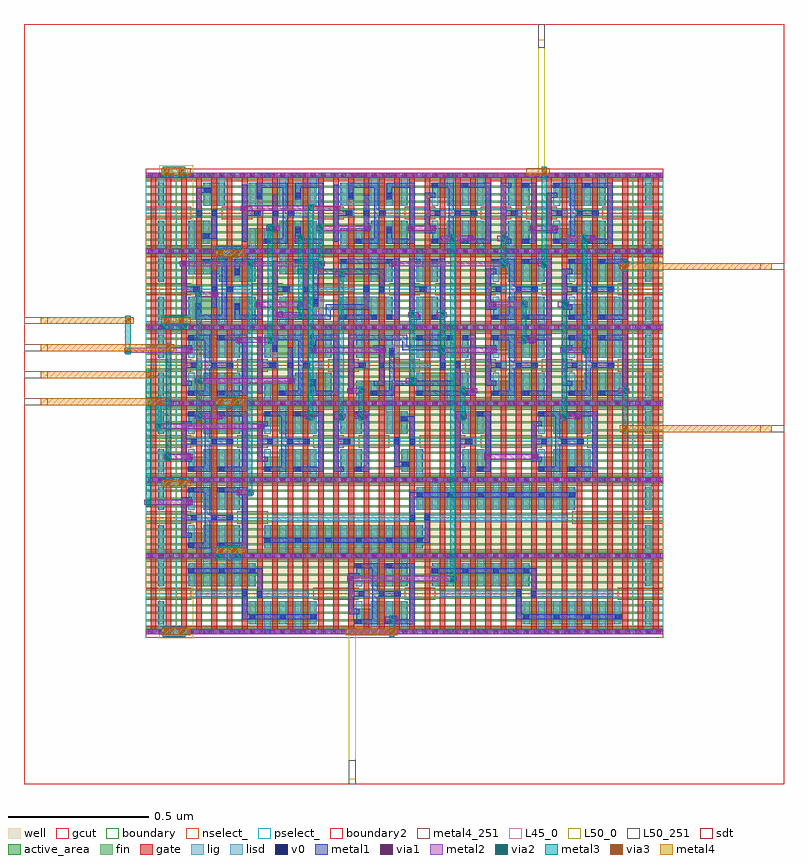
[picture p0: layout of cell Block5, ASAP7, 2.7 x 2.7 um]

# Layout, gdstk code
from math import pi, radians
import gdstk
lib = gdstk.Library(unit=1e-6, precision=2.5e-10)
def R(c, l, rs):  # rectangles x0, y0, x1, y1
    for r in rs: c.add(gdstk.rectangle(r[:2], r[2:], *l))
def A(c, l, x, y, w, h, nx, ny, dx, dy):  # array of equal rectangles
    R(c, l, [(x+i*dx, y+j*dy, x+i*dx+w, y+j*dy+h) for i in range(nx) for j in range(ny)])
def P(c, l, *ps):  # polygons
    for p in ps: c.add(gdstk.Polygon(p, *l))
well = (1, 0)
fin = (2, 0)
gate = (7, 0)
gcut = (10, 0)
active_area = (11, 0)
nselect_ = (12, 0)
pselect_ = (13, 0)
lig = (16, 0)
lisd = (17, 0)
v0 = (18, 0)
metal1 = (19, 0)
metal2 = (20, 0)
via1 = (21, 0)
via2 = (25, 0)
metal3 = (30, 0)
via3 = (35, 0)
metal4 = (40, 0)
metal4_251 = (40, 251)
L45_0 = (45, 0)
L50_0 = (50, 0)
L50_251 = (50, 251)
sdt = (88, 0)
boundary = (100, 0)
boundary2 = (235, 0)

via_via45_1_2_58_58 = lib.new_cell('VIA_VIA45_1_2_58_58')
R(via_via45_1_2_58_58, metal4, [(-0.052,-0.012,0.052,0.012)])
R(via_via45_1_2_58_58, L45_0, [(-0.041,-0.012,-0.017,0.012), (0.017,-0.012,0.041,0.012)])
R(via_via45_1_2_58_58, L50_0, [(-0.06,-0.023,0.06,0.023)])

via_via34_1_2_58_52 = lib.new_cell('VIA_VIA34_1_2_58_52')
R(via_via34_1_2_58_52, metal3, [(-0.04,-0.017,0.04,0.017)])
R(via_via34_1_2_58_52, via3, [(-0.035,-0.012,-0.017,0.012), (0.017,-0.012,0.035,0.012)])
R(via_via34_1_2_58_52, metal4, [(-0.046,-0.012,0.046,0.012)])

via_via23_1_3_36_36 = lib.new_cell('VIA_VIA23_1_3_36_36')
R(via_via23_1_3_36_36, metal2, [(-0.05,-0.009,0.05,0.009)])
R(via_via23_1_3_36_36, via2, [(-0.045,-0.009,-0.027,0.009), (-0.045,-0.009,-0.027,0.009), (0.027,-0.009,0.045,0.009)])
R(via_via23_1_3_36_36, metal3, [(-0.045,-0.009,0.045,0.009)])

via_via1_2_1836_18_1_51_ = lib.new_cell('VIA_via1_2_1836_18_1_51_36_36')
R(via_via1_2_1836_18_1_51_, metal1, [(-0.909,-0.009,0.909,0.009)])
R(via_via1_2_1836_18_1_51_, metal2, [(-0.911,-0.009,0.911,0.009)])
A(via_via1_2_1836_18_1_51_, via1, -0.909, -0.009, 0.018, 0.018, 51, 1, 0.036, 0)

via_via12 = lib.new_cell('VIA_VIA12')
R(via_via12, metal1, [(-0.009,-0.011,0.009,0.011)])
R(via_via12, metal2, [(-0.014,-0.009,0.014,0.009)])
R(via_via12, via1, [(-0.009,-0.009,0.009,0.009)])

via_via23 = lib.new_cell('VIA_VIA23')
R(via_via23, metal2, [(-0.014,-0.009,0.014,0.009)])
R(via_via23, via2, [(-0.009,-0.009,0.009,0.009)])
R(via_via23, metal3, [(-0.009,-0.014,0.009,0.014)])

via_via34 = lib.new_cell('VIA_VIA34')
R(via_via34, metal3, [(-0.009,-0.017,0.009,0.017)])
R(via_via34, via3, [(-0.009,-0.012,0.009,0.012)])
R(via_via34, metal4, [(-0.02,-0.012,0.02,0.012)])

fillerxp5_asap7_75t_r = lib.new_cell('FILLERxp5_ASAP7_75t_R')
R(fillerxp5_asap7_75t_r, well, [(0,0.135,0.054,0.27)])
A(fillerxp5_asap7_75t_r, fin, 0, 0.01, 0.054, 0.007, 1, 10, 0, 0.027)
R(fillerxp5_asap7_75t_r, gate, [(0.017,-0.005,0.037,0.275)])
A(fillerxp5_asap7_75t_r, gcut, 0, -0.022, 0.054, 0.044, 1, 3, 0, 0.135)
R(fillerxp5_asap7_75t_r, nselect_, [(0,0,0.054,0.135)])
R(fillerxp5_asap7_75t_r, pselect_, [(0,0.135,0.054,0.27)])
R(fillerxp5_asap7_75t_r, lig, [(0,-0.008,0.054,0.008), (0,0.262,0.054,0.278)])
R(fillerxp5_asap7_75t_r, metal1, [(0,-0.009,0.054,0.009), (0,0.261,0.054,0.279)])
R(fillerxp5_asap7_75t_r, boundary, [(0,0,0.054,0.27)])

filler_asap7_75t_r = lib.new_cell('FILLER_ASAP7_75t_R')
R(filler_asap7_75t_r, well, [(0,0.135,0.108,0.27)])
A(filler_asap7_75t_r, fin, 0, 0.01, 0.108, 0.007, 1, 10, 0, 0.027)
R(filler_asap7_75t_r, gate, [(0.017,-0.005,0.037,0.275), (0.071,-0.005,0.091,0.275)])
A(filler_asap7_75t_r, gcut, 0, -0.022, 0.108, 0.044, 1, 3, 0, 0.135)
R(filler_asap7_75t_r, nselect_, [(0,0,0.108,0.135)])
R(filler_asap7_75t_r, pselect_, [(0,0.135,0.108,0.27)])
R(filler_asap7_75t_r, lig, [(0,-0.008,0.108,0.008), (0,0.262,0.108,0.278)])
R(filler_asap7_75t_r, v0, [(0.045,-0.009,0.063,0.009), (0.045,0.261,0.063,0.279)])
R(filler_asap7_75t_r, metal1, [(0,-0.009,0.108,0.009), (0,0.261,0.108,0.279)])
R(filler_asap7_75t_r, boundary, [(0,0,0.108,0.27)])

decapx10_asap7_75t_r = lib.new_cell('DECAPx10_ASAP7_75t_R')
R(decapx10_asap7_75t_r, well, [(0,0.135,1.188,0.27)])
A(decapx10_asap7_75t_r, fin, 0, 0.01, 1.188, 0.007, 1, 10, 0, 0.027)
A(decapx10_asap7_75t_r, gate, 0.017, -0.005, 0.02, 0.28, 22, 1, 0.054, 0)
R(decapx10_asap7_75t_r, gcut, [(0,-0.022,1.188,0.022), (0,0.113,0.054,0.157), (1.134,0.113,1.188,0.157), (0,0.248,1.188,0.292)])
R(decapx10_asap7_75t_r, active_area, [(0.586,0.027,1.142,0.108), (0.046,0.162,0.602,0.243)])
R(decapx10_asap7_75t_r, nselect_, [(0,0,1.188,0.135)])
R(decapx10_asap7_75t_r, pselect_, [(0,0.135,1.188,0.27)])
R(decapx10_asap7_75t_r, lig, [(0,-0.008,1.188,0.008), (0.07,0.124,0.578,0.146), (0.61,0.124,1.118,0.146), (0,0.262,1.188,0.278)])
A(decapx10_asap7_75t_r, lisd, 0.636, 0, 0.024, 0.108, 5, 1, 0.108, 0)
A(decapx10_asap7_75t_r, lisd, 0.582, 0.027, 0.024, 0.081, 6, 1, 0.108, 0)
A(decapx10_asap7_75t_r, lisd, 0.042, 0.162, 0.024, 0.081, 6, 1, 0.108, 0)
A(decapx10_asap7_75t_r, lisd, 0.096, 0.162, 0.024, 0.108, 5, 1, 0.108, 0)
A(decapx10_asap7_75t_r, v0, 0.045, -0.009, 0.018, 0.018, 21, 2, 0.054, 0.27)
A(decapx10_asap7_75t_r, v0, 0.585, 0.045, 0.018, 0.018, 6, 1, 0.108, 0)
A(decapx10_asap7_75t_r, v0, 0.045, 0.207, 0.018, 0.018, 6, 1, 0.108, 0)
R(decapx10_asap7_75t_r, v0, [(0.558,0.126,0.576,0.144), (0.612,0.126,0.63,0.144)])
R(decapx10_asap7_75t_r, metal1, [(0,-0.009,1.188,0.009), (0,0.261,1.188,0.279)])
P(decapx10_asap7_75t_r, metal1, [(0.558,0.045),(0.558,0.15),(0.576,0.15),(0.576,0.063),(1.148,0.063),(1.148,0.045)],
  [(0.612,0.121),(0.612,0.207),(0.04,0.207),(0.04,0.225),(0.63,0.225),(0.63,0.121)])
A(decapx10_asap7_75t_r, sdt, 0.582, 0.027, 0.024, 0.081, 11, 1, 0.054, 0)
A(decapx10_asap7_75t_r, sdt, 0.042, 0.162, 0.024, 0.081, 11, 1, 0.054, 0)
R(decapx10_asap7_75t_r, boundary, [(0,0,1.188,0.27)])

decapx1_asap7_75t_r = lib.new_cell('DECAPx1_ASAP7_75t_R')
R(decapx1_asap7_75t_r, well, [(0,0.135,0.216,0.27)])
A(decapx1_asap7_75t_r, fin, 0, 0.01, 0.216, 0.007, 1, 10, 0, 0.027)
A(decapx1_asap7_75t_r, gate, 0.017, -0.005, 0.02, 0.28, 4, 1, 0.054, 0)
R(decapx1_asap7_75t_r, gcut, [(0,-0.022,0.216,0.022), (0,0.113,0.054,0.157), (0.162,0.113,0.216,0.157), (0,0.248,0.216,0.292)])
R(decapx1_asap7_75t_r, active_area, [(0.1,0.027,0.17,0.108), (0.046,0.162,0.116,0.243)])
R(decapx1_asap7_75t_r, nselect_, [(0,0,0.216,0.135)])
R(decapx1_asap7_75t_r, pselect_, [(0,0.135,0.216,0.27)])
R(decapx1_asap7_75t_r, lig, [(0,-0.008,0.216,0.008), (0.07,0.124,0.092,0.146), (0.124,0.124,0.146,0.146), (0,0.262,0.216,0.278)])
R(decapx1_asap7_75t_r, lisd, [(0.15,0,0.174,0.108), (0.096,0.027,0.12,0.108), (0.042,0.162,0.066,0.27), (0.096,0.162,0.12,0.243)])
A(decapx1_asap7_75t_r, v0, 0.045, -0.009, 0.018, 0.018, 3, 2, 0.054, 0.27)
R(decapx1_asap7_75t_r, v0, [(0.099,0.045,0.117,0.063), (0.072,0.126,0.09,0.144), (0.126,0.126,0.144,0.144), (0.099,0.207,0.117,0.225)])
R(decapx1_asap7_75t_r, metal1, [(0,-0.009,0.216,0.009), (0,0.261,0.216,0.279)])
P(decapx1_asap7_75t_r, metal1, [(0.126,0.121),(0.126,0.207),(0.094,0.207),(0.094,0.225),(0.144,0.225),(0.144,0.121)],
  [(0.072,0.045),(0.072,0.15),(0.09,0.15),(0.09,0.063),(0.122,0.063),(0.122,0.045)])
R(decapx1_asap7_75t_r, sdt, [(0.096,0.027,0.12,0.108), (0.15,0.027,0.174,0.108), (0.042,0.162,0.066,0.243), (0.096,0.162,0.12,0.243)])
R(decapx1_asap7_75t_r, boundary, [(0,0,0.216,0.27)])

tapcell_asap7_75t_r = lib.new_cell('TAPCELL_ASAP7_75t_R')
R(tapcell_asap7_75t_r, well, [(0,0.135,0.108,0.27)])
A(tapcell_asap7_75t_r, fin, 0, 0.01, 0.108, 0.007, 1, 10, 0, 0.027)
R(tapcell_asap7_75t_r, gate, [(0.017,-0.005,0.037,0.275), (0.071,-0.005,0.091,0.275)])
A(tapcell_asap7_75t_r, gcut, 0, -0.022, 0.108, 0.044, 1, 3, 0, 0.135)
R(tapcell_asap7_75t_r, active_area, [(0.046,0.027,0.062,0.108), (0.046,0.162,0.062,0.243)])
R(tapcell_asap7_75t_r, nselect_, [(0,0.135,0.108,0.27)])
R(tapcell_asap7_75t_r, pselect_, [(0,0,0.108,0.135)])
R(tapcell_asap7_75t_r, lig, [(0,-0.008,0.108,0.008), (0,0.262,0.108,0.278)])
R(tapcell_asap7_75t_r, lisd, [(0.042,0,0.066,0.108), (0.042,0.162,0.066,0.27)])
R(tapcell_asap7_75t_r, v0, [(0.045,-0.009,0.063,0.009), (0.045,0.261,0.063,0.279)])
R(tapcell_asap7_75t_r, metal1, [(0,-0.009,0.108,0.009), (0,0.261,0.108,0.279)])
R(tapcell_asap7_75t_r, sdt, [(0.042,0.027,0.066,0.108), (0.042,0.162,0.066,0.243)])
R(tapcell_asap7_75t_r, boundary, [(0,0,0.108,0.27)])

and2x2_asap7_75t_r = lib.new_cell('AND2x2_ASAP7_75t_R')
R(and2x2_asap7_75t_r, well, [(0,0.135,0.324,0.27)])
A(and2x2_asap7_75t_r, fin, 0, 0.01, 0.324, 0.007, 1, 10, 0, 0.027)
A(and2x2_asap7_75t_r, gate, 0.017, -0.005, 0.02, 0.28, 6, 1, 0.054, 0)
R(and2x2_asap7_75t_r, gcut, [(0,-0.022,0.324,0.022), (0,0.113,0.054,0.157), (0.27,0.113,0.324,0.157), (0,0.248,0.324,0.292)])
R(and2x2_asap7_75t_r, active_area, [(0.046,0.027,0.278,0.108)])
P(and2x2_asap7_75t_r, active_area, [(0.154,0.162),(0.154,0.189),(0.046,0.189),(0.046,0.243),(0.278,0.243),(0.278,0.162)])
R(and2x2_asap7_75t_r, nselect_, [(0,0,0.324,0.135)])
R(and2x2_asap7_75t_r, pselect_, [(0,0.135,0.324,0.27)])
R(and2x2_asap7_75t_r, lig, [(0,-0.008,0.324,0.008), (0.059,0.123,0.092,0.146), (0.178,0.123,0.254,0.146), (0.124,0.124,0.147,0.146), (0,0.262,0.324,0.278)])
R(and2x2_asap7_75t_r, lisd, [(0.15,0,0.174,0.108), (0.258,0,0.282,0.108), (0.042,0.027,0.091,0.108), (0.204,0.027,0.228,0.108), (0.15,0.162,0.174,0.27), (0.204,0.162,0.228,0.243), (0.258,0.162,0.282,0.27), (0.042,0.189,0.066,0.27), (0.096,0.189,0.12,0.243)])
A(and2x2_asap7_75t_r, v0, 0.045, -0.009, 0.018, 0.018, 5, 2, 0.054, 0.27)
R(and2x2_asap7_75t_r, v0, [(0.07,0.063,0.088,0.081), (0.207,0.063,0.225,0.081), (0.061,0.126,0.079,0.144), (0.126,0.126,0.144,0.144), (0.18,0.126,0.198,0.144), (0.207,0.189,0.225,0.207), (0.099,0.225,0.117,0.243)])
R(and2x2_asap7_75t_r, metal1, [(0,-0.009,0.324,0.009), (0.126,0.07,0.144,0.2), (0,0.261,0.324,0.279)])
P(and2x2_asap7_75t_r, metal1, [(0.207,0.027),(0.207,0.086),(0.225,0.086),(0.225,0.045),(0.288,0.045),(0.288,0.225),(0.225,0.225),(0.225,0.184),(0.207,0.184),(0.207,0.243),(0.306,0.243),(0.306,0.027)],
  [(0.07,0.027),(0.07,0.086),(0.088,0.086),(0.088,0.045),(0.162,0.045),(0.162,0.225),(0.094,0.225),(0.094,0.243),(0.18,0.243),(0.18,0.144),(0.203,0.144),(0.203,0.126),(0.18,0.126),(0.18,0.027)],
  [(0.018,0.034),(0.018,0.236),(0.036,0.236),(0.036,0.144),(0.084,0.144),(0.084,0.126),(0.036,0.126),(0.036,0.034)])
A(and2x2_asap7_75t_r, sdt, 0.15, 0.027, 0.024, 0.081, 3, 2, 0.054, 0.135)
R(and2x2_asap7_75t_r, sdt, [(0.042,0.027,0.066,0.108), (0.042,0.189,0.066,0.243), (0.096,0.189,0.12,0.243)])
R(and2x2_asap7_75t_r, boundary, [(0,0,0.324,0.27)])

invx1_asap7_75t_r = lib.new_cell('INVx1_ASAP7_75t_R')
R(invx1_asap7_75t_r, well, [(0,0.135,0.162,0.27)])
A(invx1_asap7_75t_r, fin, 0, 0.01, 0.162, 0.007, 1, 10, 0, 0.027)
A(invx1_asap7_75t_r, gate, 0.017, -0.005, 0.02, 0.2805, 3, 1, 0.054, 0)
R(invx1_asap7_75t_r, gcut, [(0,-0.022,0.162,0.022), (0,0.113,0.054,0.157), (0.108,0.113,0.162,0.157), (0,0.248,0.162,0.292)])
R(invx1_asap7_75t_r, active_area, [(0.046,0.027,0.116,0.108), (0.046,0.162,0.116,0.243)])
R(invx1_asap7_75t_r, nselect_, [(0,0,0.162,0.135)])
R(invx1_asap7_75t_r, pselect_, [(0,0.135,0.162,0.27)])
R(invx1_asap7_75t_r, lig, [(0,-0.008,0.162,0.008), (0.054,0.124,0.093,0.146), (0,0.262,0.162,0.278)])
R(invx1_asap7_75t_r, lisd, [(0.042,0,0.066,0.108), (0.096,0.027,0.12,0.108), (0.042,0.162,0.066,0.27), (0.096,0.162,0.12,0.243)])
R(invx1_asap7_75t_r, v0, [(0.045,-0.009,0.063,0.009), (0.099,-0.009,0.117,0.009), (0.099,0.027,0.117,0.045), (0.055,0.126,0.073,0.144), (0.099,0.225,0.117,0.243), (0.045,0.261,0.063,0.279), (0.099,0.261,0.117,0.279)])
R(invx1_asap7_75t_r, metal1, [(0,-0.009,0.162,0.009), (0,0.261,0.162,0.279)])
P(invx1_asap7_75t_r, metal1, [(0.018,0.027),(0.018,0.243),(0.055,0.243),(0.055,0.225),(0.036,0.225),(0.036,0.144),(0.078,0.144),(0.078,0.126),(0.036,0.126),(0.036,0.045),(0.055,0.045),(0.055,0.027)],
  [(0.094,0.027),(0.094,0.045),(0.126,0.045),(0.126,0.225),(0.094,0.225),(0.094,0.243),(0.144,0.243),(0.144,0.027)])
R(invx1_asap7_75t_r, sdt, [(0.042,0.027,0.066,0.108), (0.096,0.027,0.12,0.108), (0.042,0.162,0.066,0.243), (0.096,0.162,0.12,0.243)])
R(invx1_asap7_75t_r, boundary, [(0,0,0.162,0.27)])

haxp5_asap7_75t_r = lib.new_cell('HAxp5_ASAP7_75t_R')
R(haxp5_asap7_75t_r, well, [(0,0.135,0.486,0.27)])
A(haxp5_asap7_75t_r, fin, 0, 0.01, 0.486, 0.007, 1, 10, 0, 0.027)
A(haxp5_asap7_75t_r, gate, 0.017, -0.005, 0.02, 0.28, 4, 1, 0.054, 0)
A(haxp5_asap7_75t_r, gate, 0.233, -0.005, 0.02, 0.2805, 5, 1, 0.054, 0)
R(haxp5_asap7_75t_r, gcut, [(0,-0.022,0.486,0.022), (0,0.113,0.054,0.157), (0.162,0.113,0.27,0.157), (0.432,0.113,0.486,0.157), (0,0.248,0.486,0.292)])
R(haxp5_asap7_75t_r, active_area, [(0.046,0.027,0.17,0.108), (0.262,0.027,0.44,0.108), (0.262,0.162,0.44,0.243), (0.046,0.189,0.17,0.243)])
R(haxp5_asap7_75t_r, nselect_, [(0,0,0.486,0.135)])
R(haxp5_asap7_75t_r, pselect_, [(0,0.135,0.486,0.27)])
R(haxp5_asap7_75t_r, lig, [(0,-0.008,0.486,0.008), (0.054,0.124,0.092,0.146), (0.34,0.124,0.362,0.146), (0.394,0.124,0.416,0.146), (0.124,0.127,0.309,0.143), (0,0.262,0.486,0.278)])
R(haxp5_asap7_75t_r, lisd, [(0.042,0,0.066,0.108), (0.312,0,0.336,0.108), (0.15,0.027,0.199,0.108), (0.258,0.027,0.282,0.108), (0.366,0.027,0.39,0.108), (0.42,0.027,0.444,0.108), (0.258,0.162,0.282,0.243), (0.366,0.162,0.39,0.27), (0.42,0.162,0.444,0.243), (0.042,0.189,0.066,0.27), (0.096,0.189,0.12,0.243), (0.15,0.189,0.174,0.27)])
A(haxp5_asap7_75t_r, v0, 0.045, -0.009, 0.018, 0.018, 8, 2, 0.054, 0.27)
A(haxp5_asap7_75t_r, v0, 0.099, 0.225, 0.018, 0.018, 3, 1, 0.162, 0)
R(haxp5_asap7_75t_r, v0, [(0.261,0.027,0.279,0.045), (0.369,0.027,0.387,0.045), (0.423,0.027,0.441,0.045), (0.162,0.081,0.18,0.099), (0.055,0.126,0.073,0.144), (0.126,0.126,0.144,0.144), (0.342,0.126,0.36,0.144), (0.396,0.126,0.414,0.144)])
R(haxp5_asap7_75t_r, metal1, [(0,-0.009,0.486,0.009), (0.256,0.027,0.387,0.045), (0,0.261,0.486,0.279)])
P(haxp5_asap7_75t_r, metal1, [(0.106,0.063),(0.106,0.081),(0.126,0.081),(0.126,0.189),(0.107,0.189),(0.107,0.207),(0.144,0.207),(0.144,0.063)],
  [(0.018,0.027),(0.018,0.236),(0.036,0.236),(0.036,0.144),(0.078,0.144),(0.078,0.126),(0.036,0.126),(0.036,0.045),(0.207,0.045),(0.207,0.081),(0.342,0.081),(0.342,0.15),(0.36,0.15),(0.36,0.063),(0.225,0.063),(0.225,0.027)],
  [(0.162,0.075),(0.162,0.225),(0.094,0.225),(0.094,0.243),(0.18,0.243),(0.18,0.207),(0.414,0.207),(0.414,0.121),(0.396,0.121),(0.396,0.189),(0.18,0.189),(0.18,0.075)],
  [(0.423,0.027),(0.423,0.045),(0.45,0.045),(0.45,0.225),(0.256,0.225),(0.256,0.243),(0.468,0.243),(0.468,0.027)])
A(haxp5_asap7_75t_r, sdt, 0.042, 0.027, 0.024, 0.081, 3, 1, 0.108, 0)
A(haxp5_asap7_75t_r, sdt, 0.312, 0.027, 0.024, 0.081, 3, 1, 0.054, 0)
A(haxp5_asap7_75t_r, sdt, 0.042, 0.189, 0.024, 0.054, 3, 1, 0.054, 0)
R(haxp5_asap7_75t_r, sdt, [(0.258,0.162,0.282,0.243), (0.366,0.162,0.39,0.243), (0.42,0.162,0.444,0.243)])
R(haxp5_asap7_75t_r, boundary, [(0,0,0.486,0.27)])

bufx2_asap7_75t_r = lib.new_cell('BUFx2_ASAP7_75t_R')
R(bufx2_asap7_75t_r, well, [(0,0.135,0.27,0.27)])
A(bufx2_asap7_75t_r, fin, 0, 0.01, 0.27, 0.007, 1, 10, 0, 0.027)
A(bufx2_asap7_75t_r, gate, 0.017, -0.005, 0.02, 0.2805, 5, 1, 0.054, 0)
R(bufx2_asap7_75t_r, gcut, [(0,-0.022,0.27,0.022), (0,0.113,0.054,0.157), (0.216,0.113,0.27,0.157), (0,0.248,0.27,0.292)])
P(bufx2_asap7_75t_r, active_area, [(0.046,0.027),(0.046,0.081),(0.096,0.081),(0.096,0.108),(0.224,0.108),(0.224,0.027)],
  [(0.096,0.162),(0.096,0.189),(0.046,0.189),(0.046,0.243),(0.224,0.243),(0.224,0.162)])
R(bufx2_asap7_75t_r, nselect_, [(0,0,0.27,0.135)])
R(bufx2_asap7_75t_r, pselect_, [(0,0.135,0.27,0.27)])
R(bufx2_asap7_75t_r, lig, [(0,-0.008,0.27,0.008), (0.054,0.124,0.092,0.146), (0.124,0.124,0.146,0.146), (0.178,0.124,0.2,0.146), (0,0.262,0.27,0.278)])
R(bufx2_asap7_75t_r, lisd, [(0.096,0,0.12,0.108), (0.204,0,0.228,0.108), (0.042,0.027,0.066,0.108), (0.15,0.027,0.174,0.108), (0.042,0.162,0.066,0.243), (0.096,0.162,0.12,0.27), (0.15,0.162,0.174,0.243), (0.204,0.162,0.228,0.27)])
A(bufx2_asap7_75t_r, v0, 0.045, -0.009, 0.018, 0.018, 4, 2, 0.054, 0.27)
R(bufx2_asap7_75t_r, v0, [(0.045,0.027,0.063,0.045), (0.153,0.027,0.171,0.045), (0.055,0.126,0.073,0.144), (0.126,0.126,0.144,0.144), (0.18,0.126,0.198,0.144), (0.045,0.225,0.063,0.243), (0.153,0.225,0.171,0.243)])
R(bufx2_asap7_75t_r, metal1, [(0,-0.009,0.27,0.009), (0,0.261,0.27,0.279)])
P(bufx2_asap7_75t_r, metal1, [(0.145,0.027),(0.145,0.045),(0.234,0.045),(0.234,0.225),(0.145,0.225),(0.145,0.243),(0.252,0.243),(0.252,0.027)],
  [(0.04,0.027),(0.04,0.045),(0.102,0.045),(0.102,0.225),(0.04,0.225),(0.04,0.243),(0.12,0.243),(0.12,0.144),(0.203,0.144),(0.203,0.126),(0.12,0.126),(0.12,0.027)],
  [(0.018,0.063),(0.018,0.207),(0.055,0.207),(0.055,0.189),(0.036,0.189),(0.036,0.144),(0.073,0.144),(0.073,0.126),(0.036,0.126),(0.036,0.081),(0.055,0.081),(0.055,0.063)])
A(bufx2_asap7_75t_r, sdt, 0.042, 0.027, 0.024, 0.081, 4, 2, 0.054, 0.135)
R(bufx2_asap7_75t_r, boundary, [(0,0,0.27,0.27)])

via_via45 = lib.new_cell('VIA_VIA45')
R(via_via45, metal4, [(-0.023,-0.012,0.023,0.012)])
R(via_via45, L45_0, [(-0.012,-0.012,0.012,0.012)])
R(via_via45, L50_0, [(-0.012,-0.023,0.012,0.023)])

decapx4_asap7_75t_r = lib.new_cell('DECAPx4_ASAP7_75t_R')
R(decapx4_asap7_75t_r, well, [(0,0.135,0.54,0.27)])
A(decapx4_asap7_75t_r, fin, 0, 0.01, 0.54, 0.007, 1, 10, 0, 0.027)
A(decapx4_asap7_75t_r, gate, 0.017, -0.005, 0.02, 0.28, 10, 1, 0.054, 0)
R(decapx4_asap7_75t_r, gcut, [(0,-0.022,0.54,0.022), (0,0.113,0.054,0.157), (0.486,0.113,0.54,0.157), (0,0.248,0.54,0.292)])
R(decapx4_asap7_75t_r, active_area, [(0.262,0.027,0.494,0.108), (0.046,0.162,0.278,0.243)])
R(decapx4_asap7_75t_r, nselect_, [(0,0,0.54,0.135)])
R(decapx4_asap7_75t_r, pselect_, [(0,0.135,0.54,0.27)])
R(decapx4_asap7_75t_r, lig, [(0,-0.008,0.54,0.008), (0.07,0.124,0.254,0.146), (0.286,0.124,0.47,0.146), (0,0.262,0.54,0.278)])
A(decapx4_asap7_75t_r, lisd, 0.258, 0.027, 0.024, 0.081, 3, 1, 0.108, 0)
A(decapx4_asap7_75t_r, lisd, 0.042, 0.162, 0.024, 0.081, 3, 1, 0.108, 0)
R(decapx4_asap7_75t_r, lisd, [(0.312,0,0.336,0.108), (0.42,0,0.444,0.108), (0.096,0.162,0.12,0.27), (0.204,0.162,0.228,0.27)])
A(decapx4_asap7_75t_r, v0, 0.045, -0.009, 0.018, 0.018, 9, 2, 0.054, 0.27)
A(decapx4_asap7_75t_r, v0, 0.261, 0.045, 0.018, 0.018, 3, 1, 0.108, 0)
A(decapx4_asap7_75t_r, v0, 0.045, 0.207, 0.018, 0.018, 3, 1, 0.108, 0)
R(decapx4_asap7_75t_r, v0, [(0.234,0.126,0.252,0.144), (0.288,0.126,0.306,0.144)])
R(decapx4_asap7_75t_r, metal1, [(0,-0.009,0.54,0.009), (0,0.261,0.54,0.279)])
P(decapx4_asap7_75t_r, metal1, [(0.234,0.045),(0.234,0.15),(0.252,0.15),(0.252,0.063),(0.5,0.063),(0.5,0.045)],
  [(0.288,0.121),(0.288,0.207),(0.04,0.207),(0.04,0.225),(0.306,0.225),(0.306,0.121)])
A(decapx4_asap7_75t_r, sdt, 0.258, 0.027, 0.024, 0.081, 5, 1, 0.054, 0)
A(decapx4_asap7_75t_r, sdt, 0.042, 0.162, 0.024, 0.081, 5, 1, 0.054, 0)
R(decapx4_asap7_75t_r, boundary, [(0,0,0.54,0.27)])

decapx6_asap7_75t_r = lib.new_cell('DECAPx6_ASAP7_75t_R')
R(decapx6_asap7_75t_r, well, [(0,0.135,0.756,0.27)])
A(decapx6_asap7_75t_r, fin, 0, 0.01, 0.756, 0.007, 1, 10, 0, 0.027)
A(decapx6_asap7_75t_r, gate, 0.017, -0.005, 0.02, 0.28, 14, 1, 0.054, 0)
R(decapx6_asap7_75t_r, gcut, [(0,-0.022,0.756,0.022), (0,0.113,0.054,0.157), (0.702,0.113,0.756,0.157), (0,0.248,0.756,0.292)])
R(decapx6_asap7_75t_r, active_area, [(0.37,0.027,0.71,0.108), (0.046,0.162,0.386,0.243)])
R(decapx6_asap7_75t_r, nselect_, [(0,0,0.756,0.135)])
R(decapx6_asap7_75t_r, pselect_, [(0,0.135,0.756,0.27)])
R(decapx6_asap7_75t_r, lig, [(0,-0.008,0.756,0.008), (0.07,0.124,0.362,0.146), (0.394,0.124,0.686,0.146), (0,0.262,0.756,0.278)])
A(decapx6_asap7_75t_r, lisd, 0.42, 0, 0.024, 0.108, 3, 1, 0.108, 0)
A(decapx6_asap7_75t_r, lisd, 0.366, 0.027, 0.024, 0.081, 4, 1, 0.108, 0)
A(decapx6_asap7_75t_r, lisd, 0.042, 0.162, 0.024, 0.081, 4, 1, 0.108, 0)
A(decapx6_asap7_75t_r, lisd, 0.096, 0.162, 0.024, 0.108, 3, 1, 0.108, 0)
A(decapx6_asap7_75t_r, v0, 0.045, -0.009, 0.018, 0.018, 13, 2, 0.054, 0.27)
A(decapx6_asap7_75t_r, v0, 0.369, 0.045, 0.018, 0.018, 4, 1, 0.108, 0)
A(decapx6_asap7_75t_r, v0, 0.045, 0.207, 0.018, 0.018, 4, 1, 0.108, 0)
R(decapx6_asap7_75t_r, v0, [(0.342,0.126,0.36,0.144), (0.396,0.126,0.414,0.144)])
R(decapx6_asap7_75t_r, metal1, [(0,-0.009,0.756,0.009), (0,0.261,0.756,0.279)])
P(decapx6_asap7_75t_r, metal1, [(0.342,0.045),(0.342,0.15),(0.36,0.15),(0.36,0.063),(0.716,0.063),(0.716,0.045)],
  [(0.396,0.121),(0.396,0.207),(0.04,0.207),(0.04,0.225),(0.414,0.225),(0.414,0.121)])
A(decapx6_asap7_75t_r, sdt, 0.366, 0.027, 0.024, 0.081, 7, 1, 0.054, 0)
A(decapx6_asap7_75t_r, sdt, 0.042, 0.162, 0.024, 0.081, 7, 1, 0.054, 0)
R(decapx6_asap7_75t_r, boundary, [(0,0,0.756,0.27)])

block5 = lib.new_cell('Block5')
A(block5, metal1, 0.432, 0.531, 1.836, 0.018, 1, 7, 0, 0.27)
A(block5, metal2, 0.432, 0.531, 1.836, 0.018, 1, 7, 0, 0.27)
R(block5, metal2, [(1.282,0.576,1.305,0.594), (1.152,0.72,1.53,0.738), (0.432,0.99,0.594,1.008), (0.756,1.026,0.81,1.044), (0.504,1.152,0.594,1.17), (1.638,1.152,1.818,1.17), (0.468,1.26,0.846,1.278), (0.612,1.296,0.702,1.314), (0.994,1.296,1.017,1.314), (1.102,1.296,1.125,1.314), (1.174,1.296,1.197,1.314), (1.534,1.296,1.557,1.314), (1.908,1.296,1.962,1.314), (1.152,1.386,1.206,1.404), (1.548,1.386,1.602,1.404), (2.11,1.386,2.133,1.404), (0.612,1.422,0.954,1.44), (1.354,1.422,1.377,1.44), (0.36,1.53,0.594,1.548), (1.008,1.53,1.278,1.548), (1.476,1.53,1.674,1.548), (1.908,1.53,1.998,1.548), (0.756,1.566,0.846,1.584), (0.828,1.566,0.882,1.584), (1.75,1.566,1.773,1.584), (0.9,1.656,0.99,1.674), (1.377,1.656,1.4,1.674), (1.462,1.656,1.485,1.674), (0.828,1.692,0.99,1.71), (1.656,1.692,1.782,1.71), (1.894,1.692,1.917,1.71), (0.612,1.728,0.684,1.746), (1.102,1.8,1.125,1.818), (0.558,1.836,1.062,1.854), (0.778,1.836,0.801,1.854), (1.296,1.836,1.71,1.854), (1.822,1.836,1.845,1.854), (2.11,1.836,2.133,1.854), (0.958,1.926,0.981,1.944), (1.48,1.926,1.598,1.944), (1.678,1.926,1.701,1.944), (1.925,1.926,2.03,1.944), (0.864,1.962,0.9,1.98), (1.044,1.962,1.224,1.98), (1.368,1.962,1.458,1.98), (1.8,1.962,1.89,1.98), (0.774,2.034,1.116,2.052), (0.994,2.034,1.017,2.052)])
R(block5, metal3, [(0.487,0.531,0.577,0.549), (1.296,0.531,1.314,0.594), (1.512,0.72,1.53,1.944), (0.679,0.793,0.769,0.827), (0.432,0.99,0.45,1.461), (0.792,1.026,0.81,1.854), (0.487,1.071,0.577,1.089), (0.504,1.152,0.522,1.557), (2.124,1.251,2.142,1.404), (0.468,1.26,0.486,1.365), (0.612,1.296,0.63,1.746), (1.008,1.296,1.026,2.052), (1.116,1.296,1.134,1.818), (1.188,1.296,1.206,1.404), (1.548,1.296,1.566,1.404), (1.908,1.296,1.926,1.71), (0.679,1.333,0.767,1.367), (0.612,1.408,0.63,1.431), (1.368,1.422,1.386,1.674), (0.36,1.53,0.378,1.653), (1.476,1.53,1.494,1.674), (1.98,1.53,1.998,1.944), (0.864,1.566,0.882,1.98), (1.764,1.566,1.782,1.71), (0.487,1.611,0.577,1.661), (0.972,1.656,0.99,1.944), (2.124,1.827,2.142,1.854), (1.044,1.836,1.062,1.98), (1.692,1.836,1.71,1.944), (1.836,1.836,1.854,2.181), (0.679,1.873,0.769,1.907), (0.487,2.151,0.577,2.169)])
R(block5, metal4, [(1.152,0.528,1.317,0.552), (2.121,1.248,2.652,1.272), (0.06,1.344,0.489,1.368), (0.06,1.44,0.453,1.464), (0.06,1.536,0.525,1.56), (0.06,1.632,0.381,1.656), (2.121,1.824,2.652,1.848), (1.781,2.16,1.836,2.184), (1.824,2.16,1.857,2.184)])
A(block5, metal4_251, 0, 1.344, 0.084, 0.024, 1, 4, 0, 0.096)
R(block5, metal4_251, [(2.612,1.248,2.696,1.272), (2.612,1.824,2.696,1.848)])
R(block5, L50_0, [(1.152,0.016,1.176,0.552), (0.48,0.517,0.6,2.183), (0.672,0.787,0.792,1.913), (1.824,2.16,1.848,2.64)])
R(block5, L50_251, [(1.152,0,1.176,0.084), (1.824,2.612,1.848,2.696)])
R(block5, boundary2, [(0,0,2.696,2.696)])
block5.add(gdstk.Reference(via_via45_1_2_58_58, (0.732,1.356)))
block5.add(gdstk.Reference(via_via34_1_2_58_52, (0.724,1.356)))
block5.add(gdstk.Reference(via_via23_1_3_36_36, (0.722,1.35)))
block5.add(gdstk.Reference(via_via1_2_1836_18_1_51_, (1.35,1.62)))
block5.add(gdstk.Reference(via_via1_2_1836_18_1_51_, (1.35,1.08)))
block5.add(gdstk.Reference(via_via1_2_1836_18_1_51_, (1.35,0.54)))
block5.add(gdstk.Reference(via_via1_2_1836_18_1_51_, (1.35,2.16)))
block5.add(gdstk.Reference(via_via1_2_1836_18_1_51_, (1.35,0.81)))
block5.add(gdstk.Reference(via_via1_2_1836_18_1_51_, (1.35,1.35)))
block5.add(gdstk.Reference(via_via1_2_1836_18_1_51_, (1.35,1.89)))
block5.add(gdstk.Reference(via_via12, (1.314,0.585)))
block5.add(gdstk.Reference(via_via12, (1.314,1.845)))
block5.add(gdstk.Reference(via_via23, (1.305,0.585)))
block5.add(gdstk.Reference(via_via34, (0.477,1.356)))
block5.add(gdstk.Reference(via_via34, (1.305,0.54)))
block5.add(gdstk.Reference(fillerxp5_asap7_75t_r, (1.458,1.08)))
block5.add(gdstk.Reference(filler_asap7_75t_r, (1.674,1.08)))
block5.add(gdstk.Reference(filler_asap7_75t_r, (2.052,1.08)))
block5.add(gdstk.Reference(decapx10_asap7_75t_r, (0.81,1.08), x_reflection=True))
block5.add(gdstk.Reference(decapx1_asap7_75t_r, (1.242,1.08)))
block5.add(gdstk.Reference(tapcell_asap7_75t_r, (0.432,1.08)))
block5.add(gdstk.Reference(tapcell_asap7_75t_r, (2.268,1.62), rotation=pi))
block5.add(gdstk.Reference(tapcell_asap7_75t_r, (0.432,1.62), x_reflection=True))
block5.add(gdstk.Reference(tapcell_asap7_75t_r, (2.268,1.08), rotation=pi, x_reflection=True))
block5.add(gdstk.Reference(and2x2_asap7_75t_r, (0.81,1.62), x_reflection=True))
block5.add(gdstk.Reference(and2x2_asap7_75t_r, (1.08,2.16), x_reflection=True))
block5.add(gdstk.Reference(invx1_asap7_75t_r, (1.08,1.08)))
block5.add(gdstk.Reference(invx1_asap7_75t_r, (1.512,1.08)))
block5.add(gdstk.Reference(haxp5_asap7_75t_r, (0.864,1.62)))
block5.add(gdstk.Reference(haxp5_asap7_75t_r, (1.134,1.62), x_reflection=True))
block5.add(gdstk.Reference(bufx2_asap7_75t_r, (1.782,1.08)))
block5.add(gdstk.Reference(bufx2_asap7_75t_r, (1.134,0.54)))
block5.add(gdstk.Reference(bufx2_asap7_75t_r, (0.54,1.08)))
block5.add(gdstk.Reference(bufx2_asap7_75t_r, (0.81,1.08)))
block5.add(gdstk.Reference(bufx2_asap7_75t_r, (1.62,1.62), x_reflection=True))
block5.add(gdstk.Reference(bufx2_asap7_75t_r, (0.54,1.62), x_reflection=True))
block5.add(gdstk.Reference(bufx2_asap7_75t_r, (1.89,1.62), x_reflection=True))
block5.add(gdstk.Reference(via_via23, (1.989,1.935)))
block5.add(gdstk.Reference(via_via23, (1.917,1.701)))
block5.add(gdstk.Reference(via_via23, (1.773,1.575)))
block5.add(gdstk.Reference(via_via23, (1.773,1.701)))
block5.add(gdstk.Reference(via_via12, (1.845,1.845)))
block5.add(gdstk.Reference(via_via23, (1.701,1.935)))
block5.add(gdstk.Reference(via_via23, (2.133,1.395)))
block5.add(gdstk.Reference(via_via23, (1.377,1.665)))
block5.add(gdstk.Reference(via_via23, (1.557,1.395)))
block5.add(gdstk.Reference(via_via23, (2.133,1.845)))
block5.add(gdstk.Reference(via_via23, (1.845,1.845)))
block5.add(gdstk.Reference(via_via12, (2.133,1.845)))
block5.add(gdstk.Reference(via_via34, (1.845,2.172)))
block5.add(gdstk.Reference(via_via12, (2.133,1.395)))
block5.add(gdstk.Reference(via_via34, (2.133,1.836)))
block5.add(gdstk.Reference(via_via45, (1.836,2.172)))
block5.add(gdstk.Reference(via_via12, (1.593,1.395)))
block5.add(gdstk.Reference(fillerxp5_asap7_75t_r, (2.106,2.16), x_reflection=True))
block5.add(gdstk.Reference(via_via12, (1.801,1.575)))
block5.add(gdstk.Reference(via_via12, (1.917,1.701)))
block5.add(gdstk.Reference(filler_asap7_75t_r, (1.512,1.62)))
block5.add(gdstk.Reference(via_via12, (2.016,1.935)))
block5.add(gdstk.Reference(via_via12, (1.917,1.539)))
block5.add(gdstk.Reference(via_via12, (1.665,1.701)))
block5.add(gdstk.Reference(via_via12, (1.377,1.665)))
block5.add(gdstk.Reference(tapcell_asap7_75t_r, (2.268,2.16), rotation=pi))
block5.add(gdstk.Reference(via_via12, (1.377,1.431)))
block5.add(gdstk.Reference(via_via12, (1.701,1.935)))
block5.add(gdstk.Reference(tapcell_asap7_75t_r, (2.268,1.62), rotation=pi, x_reflection=True))
block5.add(gdstk.Reference(via_via12, (1.584,1.935)))
block5.add(gdstk.Reference(via_via12, (1.485,1.665)))
block5.add(gdstk.Reference(via_via12, (1.665,1.539)))
block5.add(gdstk.Reference(invx1_asap7_75t_r, (1.35,1.62)))
block5.add(gdstk.Reference(via_via12, (1.809,1.971)))
block5.add(gdstk.Reference(invx1_asap7_75t_r, (1.674,2.16), x_reflection=True))
block5.add(gdstk.Reference(via_via12, (1.881,1.971)))
block5.add(gdstk.Reference(via_via12, (1.449,1.971)))
block5.add(gdstk.Reference(via_via12, (1.377,1.971)))
block5.add(gdstk.Reference(bufx2_asap7_75t_r, (1.62,1.62)))
block5.add(gdstk.Reference(bufx2_asap7_75t_r, (1.89,1.62)))
block5.add(gdstk.Reference(via_via23, (1.701,1.845)))
block5.add(gdstk.Reference(via_via23, (1.377,1.431)))
block5.add(gdstk.Reference(via_via23, (1.485,1.665)))
block5.add(gdstk.Reference(via_via23, (1.485,1.539)))
block5.add(gdstk.Reference(via_via23, (1.521,1.935)))
block5.add(gdstk.Reference(bufx2_asap7_75t_r, (1.836,2.16), x_reflection=True))
block5.add(gdstk.Reference(bufx2_asap7_75t_r, (1.404,2.16), x_reflection=True))
block5.add(gdstk.Reference(via_via23, (1.989,1.539)))
block5.add(gdstk.Reference(via_via23, (0.981,1.665)))
block5.add(gdstk.Reference(via_via12, (1.215,1.971)))
block5.add(gdstk.Reference(via_via12, (0.783,2.043)))
block5.add(gdstk.Reference(via_via12, (0.567,1.845)))
block5.add(gdstk.Reference(via_via12, (0.585,1.539)))
block5.add(gdstk.Reference(via_via34, (0.441,1.452)))
block5.add(gdstk.Reference(via_via12, (1.161,1.395)))
block5.add(gdstk.Reference(via_via34, (0.369,1.644)))
block5.add(gdstk.Reference(via_via34, (0.513,1.548)))
block5.add(gdstk.Reference(via_via12, (0.945,1.431)))
block5.add(gdstk.Reference(via_via12, (0.675,1.737)))
block5.add(gdstk.Reference(via_via12, (0.837,1.701)))
block5.add(gdstk.Reference(via_via12, (1.269,1.539)))
block5.add(gdstk.Reference(via_via12, (1.026,1.539)))
block5.add(gdstk.Reference(via_via23_1_3_36_36, (0.532,1.62)))
block5.add(gdstk.Reference(via_via23_1_3_36_36, (0.532,2.16)))
block5.add(gdstk.Reference(via_via23, (1.125,1.809)))
block5.add(gdstk.Reference(via_via23, (1.197,1.395)))
block5.add(gdstk.Reference(decapx1_asap7_75t_r, (0.54,2.16), x_reflection=True))
block5.add(gdstk.Reference(tapcell_asap7_75t_r, (0.432,1.62)))
block5.add(gdstk.Reference(via_via23, (0.801,1.845)))
block5.add(gdstk.Reference(via_via45_1_2_58_58, (0.54,2.172)))
block5.add(gdstk.Reference(via_via12, (0.909,1.665)))
block5.add(gdstk.Reference(via_via23, (1.053,1.971)))
block5.add(gdstk.Reference(tapcell_asap7_75t_r, (0.432,2.16), x_reflection=True))
block5.add(gdstk.Reference(via_via12, (0.981,1.935)))
block5.add(gdstk.Reference(via_via23, (1.053,1.845)))
block5.add(gdstk.Reference(and2x2_asap7_75t_r, (0.54,1.62)))
block5.add(gdstk.Reference(and2x2_asap7_75t_r, (0.756,2.16), x_reflection=True))
block5.add(gdstk.Reference(via_via45_1_2_58_58, (0.732,1.884)))
block5.add(gdstk.Reference(via_via23, (0.369,1.539)))
block5.add(gdstk.Reference(via_via23, (1.017,2.043)))
block5.add(gdstk.Reference(via_via34_1_2_58_52, (0.724,1.884)))
block5.add(gdstk.Reference(via_via23, (0.621,1.431)))
block5.add(gdstk.Reference(via_via12, (1.125,1.809)))
block5.add(gdstk.Reference(via_via45_1_2_58_58, (0.54,1.644)))
block5.add(gdstk.Reference(via_via23, (0.621,1.737)))
block5.add(gdstk.Reference(via_via34_1_2_58_52, (0.532,1.644)))
block5.add(gdstk.Reference(via_via34_1_2_58_52, (0.532,2.172)))
block5.add(gdstk.Reference(via_via23_1_3_36_36, (0.724,1.89)))
block5.add(gdstk.Reference(via_via23, (0.981,1.935)))
block5.add(gdstk.Reference(via_via12, (0.981,1.701)))
block5.add(gdstk.Reference(via_via12, (0.837,1.575)))
block5.add(gdstk.Reference(via_via12, (0.891,1.971)))
block5.add(gdstk.Reference(via_via23, (0.873,1.575)))
block5.add(gdstk.Reference(via_via23, (0.873,1.971)))
block5.add(gdstk.Reference(via_via12, (0.765,1.575)))
block5.add(gdstk.Reference(via_via12, (1.107,2.043)))
block5.add(gdstk.Reference(tapcell_asap7_75t_r, (0.432,0.54)))
block5.add(gdstk.Reference(via_via34_1_2_58_52, (0.532,1.068)))
block5.add(gdstk.Reference(via_via23, (1.125,1.305)))
block5.add(gdstk.Reference(via_via12, (0.585,1.161)))
block5.add(gdstk.Reference(via_via12, (0.837,1.269)))
block5.add(gdstk.Reference(tapcell_asap7_75t_r, (0.432,1.08), x_reflection=True))
block5.add(gdstk.Reference(via_via23, (1.197,1.305)))
block5.add(gdstk.Reference(via_via23, (1.017,1.305)))
block5.add(gdstk.Reference(via_via12, (0.694,1.305)))
block5.add(gdstk.Reference(via_via45_1_2_58_58, (0.54,1.068)))
block5.add(gdstk.Reference(via_via45_1_2_58_58, (0.732,0.828)))
block5.add(gdstk.Reference(via_via45_1_2_58_58, (0.54,0.54)))
block5.add(gdstk.Reference(via_via23, (0.513,1.161)))
block5.add(gdstk.Reference(via_via23, (0.477,1.269)))
block5.add(gdstk.Reference(via_via12, (1.206,1.305)))
block5.add(gdstk.Reference(via_via23, (0.441,0.999)))
block5.add(gdstk.Reference(via_via23_1_3_36_36, (0.532,0.54)))
block5.add(gdstk.Reference(via_via23_1_3_36_36, (0.532,1.08)))
block5.add(gdstk.Reference(via_via12, (0.585,0.999)))
block5.add(gdstk.Reference(via_via12, (1.161,0.729)))
block5.add(gdstk.Reference(via_via45, (1.164,0.54)))
block5.add(gdstk.Reference(fillerxp5_asap7_75t_r, (1.08,0.54)))
block5.add(gdstk.Reference(via_via12, (0.765,1.035)))
block5.add(gdstk.Reference(via_via34_1_2_58_52, (0.532,0.54)))
block5.add(gdstk.Reference(decapx4_asap7_75t_r, (0.54,0.54)))
block5.add(gdstk.Reference(via_via34_1_2_58_52, (0.724,0.828)))
block5.add(gdstk.Reference(via_via23, (0.621,1.305)))
block5.add(gdstk.Reference(bufx2_asap7_75t_r, (0.54,1.08), x_reflection=True))
block5.add(gdstk.Reference(via_via12, (1.125,1.305)))
block5.add(gdstk.Reference(via_via23_1_3_36_36, (0.724,0.81)))
block5.add(gdstk.Reference(via_via12, (1.008,1.305)))
block5.add(gdstk.Reference(via_via23, (0.801,1.035)))
block5.add(gdstk.Reference(filler_asap7_75t_r, (1.998,1.08), x_reflection=True))
block5.add(gdstk.Reference(tapcell_asap7_75t_r, (2.268,0.54), rotation=pi, x_reflection=True))
block5.add(gdstk.Reference(via_via12, (1.962,1.305)))
block5.add(gdstk.Reference(via_via23, (1.557,1.305)))
block5.add(gdstk.Reference(via_via12, (1.557,1.305)))
block5.add(gdstk.Reference(fillerxp5_asap7_75t_r, (2.106,1.08), x_reflection=True))
block5.add(gdstk.Reference(via_via23, (1.917,1.305)))
block5.add(gdstk.Reference(decapx6_asap7_75t_r, (1.404,0.54)))
block5.add(gdstk.Reference(tapcell_asap7_75t_r, (2.268,1.08), rotation=pi))
block5.add(gdstk.Reference(via_via34, (2.133,1.26)))
block5.add(gdstk.Reference(via_via23, (1.521,0.729)))
block5.add(gdstk.Reference(via_via12, (1.647,1.161)))
block5.add(gdstk.Reference(via_via12, (1.809,1.161)))

lib.write_gds('Block5.gds')
